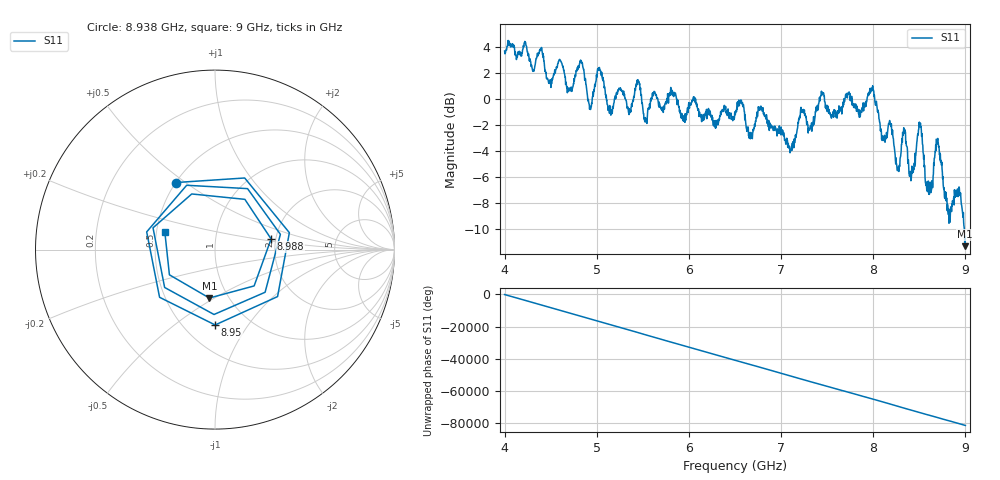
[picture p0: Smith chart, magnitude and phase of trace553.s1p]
! Created with skrf 1.8.0 (http://scikit-rf.org).
# Hz S RI R 50.0
!freq ReS11 ImS11
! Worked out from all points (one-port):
!   1601 points, 4 GHz to 9 GHz, reference 50 ohm
!   lowest |S11| = -11.3 dB at 8.994 GHz (marker M1), VSWR 1.75, Z = 40.7 - j23.7 ohm
!   |S11| at or under -10 dB: 8.988277 GHz to end of sweep
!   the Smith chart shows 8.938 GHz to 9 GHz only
!   S11 on the Smith chart (normalised r, x): 8.938 GHz: 0.50, +0.46; 8.95 GHz: 0.70, -0.71; 8.988 GHz: 1.89, +0.25; 9 GHz: 0.55, +0.12
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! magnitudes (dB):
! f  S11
! 4 GHz  3.7
! 4.625 GHz  2.6
! 4.706 GHz  0.9
! 4.838 GHz  2.8
! 4.925 GHz  -0.5
! 5.022 GHz  2.4
! 5.144 GHz  -1.0
! 5.25 GHz  0.7
! 5.528 GHz  -1.4
! 5.875 GHz  -0.2
! 6.5 GHz  -1.0
! 7.125 GHz  -3.7
! 7.441 GHz  0.4
! 7.75 GHz  -0.1
! 7.988 GHz  0.8
! 8.262 GHz  -5.5
! 8.331 GHz  -2.2
! 8.375 GHz  -4.9
! 8.425 GHz  -5.7
! 8.506 GHz  -2.0
! 8.588 GHz  -7.1
! 8.697 GHz  -3.2
! 8.816 GHz  -8.9
! 8.938 GHz  -7.3
! 8.95 GHz  -7.5
! 8.988 GHz  -9.9
! 8.994 GHz  -11.3
! 9 GHz  -10.6
